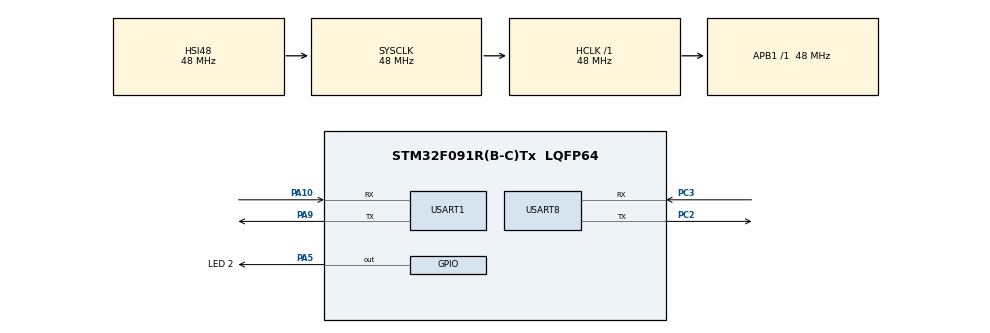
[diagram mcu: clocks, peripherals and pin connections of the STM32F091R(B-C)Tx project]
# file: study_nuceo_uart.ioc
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Mcu.Family=STM32F0
Mcu.Name=STM32F091R(B-C)Tx
Mcu.Package=LQFP64
NVIC.USART1_IRQn=true\:0\:0\:false\:false\:true\:true\:true\:true
PA10.Mode=Asynchronous
PA10.Signal=USART1_RX
PA13.Mode=Serial_Wire
PA13.Signal=SYS_SWDIO
PA14.Mode=Serial_Wire
PA14.Signal=SYS_SWCLK
PA5.GPIO_Label=LED 2
PA5.Signal=GPIO_Output
PA9.Mode=Asynchronous
PA9.Signal=USART1_TX
PC14OSC32_IN.Mode=LSE-External-Oscillator
PC14OSC32_IN.Signal=RCC_OSC32_IN
PC15OSC32_OUT.Mode=LSE-External-Oscillator
PC15OSC32_OUT.Signal=RCC_OSC32_OUT
PC2.Mode=Asynchronous
PC2.Signal=USART8_TX
PC3.Mode=Asynchronous
PC3.Signal=USART8_RX
PF0-OSC_IN.Mode=HSE-External-Clock-Source
PF0-OSC_IN.Signal=RCC_OSC_IN
ProjectManager.HeapSize=0x200
ProjectManager.StackSize=0x400
ProjectManager.TargetToolchain=STM32CubeIDE
RCC.AHBFreq_Value=48000000
RCC.APB1Freq_Value=48000000
RCC.APB1TimFreq_Value=48000000
RCC.HCLKFreq_Value=48000000
RCC.SYSCLKFreq_VALUE=48000000
RCC.SYSCLKSource=RCC_SYSCLKSOURCE_HSI48
USART1.VirtualMode-Asynchronous=VM_ASYNC
USART8.VirtualMode=VM_ASYNC
board=custom

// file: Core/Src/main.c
/* USER CODE BEGIN Header */
/**
  ******************************************************************************
  * @file           : main.c
  * @brief          : Main program body
  ******************************************************************************
  * @attention
  *
  * Copyright (c) 2023 STMicroelectronics.
  * All rights reserved.
  *
  * This software is licensed under terms that can be found in the LICENSE file
  * in the root directory of this software component.
  * If no LICENSE file comes with this software, it is provided AS-IS.
  *
  ******************************************************************************
  */
/* USER CODE END Header */
#include "main.h"
#include <stdio.h>
/* USER CODE BEGIN Includes */
#include "haiyun_jy62.h"
#include <string.h>

/* USER CODE END Includes */

UART_HandleTypeDef huart1;
UART_HandleTypeDef huart8;

/* USER CODE BEGIN PV */
TypeDef_JY62 *imu0;
/* USER CODE END PV */

void SystemClock_Config(void);
static void MX_GPIO_Init(void);
static void MX_USART1_UART_Init(void);
static void MX_USART8_UART_Init(void);

int main(void)
{

  /* MCU Configuration--------------------------------------------------------*/

  /* Reset of all peripherals, Initializes the Flash interface and the Systick. */
  HAL_Init();

  /* Configure the system clock */
  SystemClock_Config();

  /* Initialize all configured peripherals */
  MX_GPIO_Init();
  MX_USART1_UART_Init();
  MX_USART8_UART_Init();
  /* USER CODE BEGIN 2 */
  char strStart[30] = "Initialization start\r\n";
  uint16_t strNum = strlen(strStart);

  HAL_UART_Transmit_DMA(&huart8, (uint8_t*)strStart, strNum);
  jy62_init(imu0,&huart1);
  /* USER CODE END 2 */

  /* Infinite loop */
  /* USER CODE BEGIN WHILE */
  uint32_t start = HAL_GetTick();
  uint32_t end = HAL_GetTick();

  jy62_DMA_read(imu0);
  char strEnd[30] = "Initialization End\r\n";
  strNum = strlen(strEnd);
  HAL_UART_Transmit_DMA(&huart8, (uint8_t*)strEnd, strNum);
  while (1)
  {
	  end = HAL_GetTick();
	  if(end - start >= 10E4){
		  jy62_calib(imu0);
		  start = HAL_GetTick();
	  }

    /* USER CODE END WHILE */
	  char strPrint[100];
	  uint16_t numStr = sprintf(strPrint,"Roll %d, Pitch %d, Yaw %d", imu0->angle[0], imu0->angle[1],
			  imu0->angle[2]);
	  HAL_UART_Transmit_DMA(&huart8, (uint8_t*) strPrint, numStr);
  }
}

void SystemClock_Config(void)
{
  RCC_OscInitTypeDef RCC_OscInitStruct = {0};
  RCC_ClkInitTypeDef RCC_ClkInitStruct = {0};
  RCC_PeriphCLKInitTypeDef PeriphClkInit = {0};

  /** Initializes the RCC Oscillators according to the specified parameters
  * in the RCC_OscInitTypeDef structure.
  */
  RCC_OscInitStruct.OscillatorType = RCC_OSCILLATORTYPE_HSI48;
  RCC_OscInitStruct.HSI48State = RCC_HSI48_ON;
  RCC_OscInitStruct.PLL.PLLState = RCC_PLL_NONE;
  if (HAL_RCC_OscConfig(&RCC_OscInitStruct) != HAL_OK)
  {
    Error_Handler();
  }

  /** Initializes the CPU, AHB and APB buses clocks
  */
  RCC_ClkInitStruct.ClockType = RCC_CLOCKTYPE_HCLK|RCC_CLOCKTYPE_SYSCLK
                              |RCC_CLOCKTYPE_PCLK1;
  RCC_ClkInitStruct.SYSCLKSource = RCC_SYSCLKSOURCE_HSI48;
  RCC_ClkInitStruct.AHBCLKDivider = RCC_SYSCLK_DIV1;
  RCC_ClkInitStruct.APB1CLKDivider = RCC_HCLK_DIV1;

  if (HAL_RCC_ClockConfig(&RCC_ClkInitStruct, FLASH_LATENCY_1) != HAL_OK)
  {
    Error_Handler();
  }
  PeriphClkInit.PeriphClockSelection = RCC_PERIPHCLK_USART1;
  PeriphClkInit.Usart1ClockSelection = RCC_USART1CLKSOURCE_PCLK1;
  if (HAL_RCCEx_PeriphCLKConfig(&PeriphClkInit) != HAL_OK)
  {
    Error_Handler();
  }
}

static void MX_USART1_UART_Init(void)
{

  huart1.Instance = USART1;
  huart1.Init.BaudRate = 115200;
  huart1.Init.WordLength = UART_WORDLENGTH_8B;
  huart1.Init.StopBits = UART_STOPBITS_1;
  huart1.Init.Parity = UART_PARITY_NONE;
  huart1.Init.Mode = UART_MODE_TX_RX;
  huart1.Init.HwFlowCtl = UART_HWCONTROL_NONE;
  huart1.Init.OverSampling = UART_OVERSAMPLING_16;
  huart1.Init.OneBitSampling = UART_ONE_BIT_SAMPLE_DISABLE;
  huart1.AdvancedInit.AdvFeatureInit = UART_ADVFEATURE_NO_INIT;
  if (HAL_UART_Init(&huart1) != HAL_OK)
  {
    Error_Handler();
  }

}

static void MX_USART8_UART_Init(void)
{

  huart8.Instance = USART8;
  huart8.Init.BaudRate = 115200;
  huart8.Init.WordLength = UART_WORDLENGTH_8B;
  huart8.Init.StopBits = UART_STOPBITS_1;
  huart8.Init.Parity = UART_PARITY_NONE;
  huart8.Init.Mode = UART_MODE_TX_RX;
  huart8.Init.HwFlowCtl = UART_HWCONTROL_NONE;
  huart8.Init.OverSampling = UART_OVERSAMPLING_16;
  huart8.Init.OneBitSampling = UART_ONE_BIT_SAMPLE_DISABLE;
  huart8.AdvancedInit.AdvFeatureInit = UART_ADVFEATURE_NO_INIT;
  if (HAL_UART_Init(&huart8) != HAL_OK)
  {
    Error_Handler();
  }

}

static void MX_GPIO_Init(void)
{
  GPIO_InitTypeDef GPIO_InitStruct = {0};

  /* GPIO Ports Clock Enable */
  __HAL_RCC_GPIOC_CLK_ENABLE();
  __HAL_RCC_GPIOF_CLK_ENABLE();
  __HAL_RCC_GPIOA_CLK_ENABLE();

  /*Configure GPIO pin Output Level */
  HAL_GPIO_WritePin(LED_2_GPIO_Port, LED_2_Pin, GPIO_PIN_RESET);

  /*Configure GPIO pin : LED_2_Pin */
  GPIO_InitStruct.Pin = LED_2_Pin;
  GPIO_InitStruct.Mode = GPIO_MODE_OUTPUT_PP;
  GPIO_InitStruct.Pull = GPIO_NOPULL;
  GPIO_InitStruct.Speed = GPIO_SPEED_FREQ_LOW;
  HAL_GPIO_Init(LED_2_GPIO_Port, &GPIO_InitStruct);

}

/* USER CODE BEGIN 4 */
void HAL_UART_RxCpltCallback(UART_HandleTypeDef *huart)
{
	jy62_DMA_read(imu0);
	jy62_decoder(imu0);
}
/* USER CODE END 4 */

void Error_Handler(void)
{
  __disable_irq();
  while (1)
  {
  }
}
